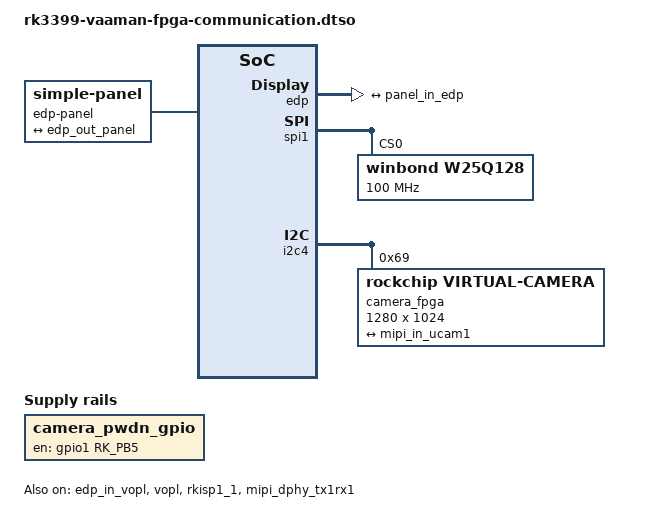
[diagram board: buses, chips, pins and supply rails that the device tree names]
// SPDX-License-Identifier: GPL-2.0+
// Copyright (C) 2023 Vicharak Computers LLP

/dts-v1/;
/plugin/;

#include <dt-bindings/clock/rk3399-cru.h>
#include <dt-bindings/display/media-bus-format.h>
#include <dt-bindings/gpio/gpio.h>
#include <dt-bindings/pinctrl/rockchip.h>

&{/} {
	metadata {
		title = "Enable Vaaman FPGA Communication";
		compatible = "vicharak,rk3399-vaaman", "rockchip,rk3399";
		category = "misc";
		exclusive = "rkisp1_1", "mipi_dphy_tx1rx1", "edp", "edp_in_vopl", "vopl";
		description = "Enables FPGA RX and TX communication on Vicharak Vaaman,\nallowing configuration of the FPGA and enabling bi-directional communication between the processor and FPGA.";
	};

	edp-panel {
		compatible = "simple-panel";
		status = "okay";

		port {
			panel_in_edp: endpoint {
				remote-endpoint = <&edp_out_panel>;
			};
		};
	};

	camera_pwdn_gpio: camera-pwdn-gpio {
		status = "okay";
		compatible = "regulator-fixed";
		regulator-name = "camera_pwdn_gpio";
		regulator-always-on;
		regulator-boot-on;
		enable-active-high;
		gpio = <&gpio1 RK_PB5 GPIO_ACTIVE_HIGH>;
		pinctrl-names = "default";
		pinctrl-0 = <&cam_pwdn_gpio>;
	};
};

&edp {
	status = "okay";
	force-hpd;

	ports {
		#address-cells = <1>;
		#size-cells = <0>;

		edp_out: port@1 {
			reg = <1>;

			edp_out_panel: endpoint {
				remote-endpoint = <&panel_in_edp>;
			};
		};
	};
};

&edp_in_vopl {
	status = "okay";
};

&vopl {
	assigned-clocks = <&cru DCLK_VOP1_DIV>;
	assigned-clock-parents = <&cru PLL_CPLL>;
	status = "okay";
};

&vopl_mmu {
	status = "okay";
};

&spi1 {
	status = "okay";
	#address-cells = <1>;
	#size-cells = <0>;

	w25q128: spi-flash@0 {
		reg = <0>;
		#address-cells = <1>;
		#size-cells = <0>;
		compatible = "winbond,w25q128", "jedec,spi-nor";
		spi-max-frequency = <100000000>;
		status = "okay";
	};
};

&i2c4 {
	status = "okay";
	#address-cells = <1>;
	#size-cells = <0>;

	camera_fpga: camera-fpga@69 {
		compatible = "rockchip,virtual-camera";
		reg = <0x69>;
		width = <1280>;
		height = <1024>;
		bus-format = <MEDIA_BUS_FMT_RGB888_1X24>;

		port {
			ucam_out1: endpoint {
				remote-endpoint = <&mipi_in_ucam1>;
				link-frequencies = /bits/ 64 <700000000>;
				data-lanes = <1 2 3 4>;
			};
		};
	};
};

&rkisp1_1 {
	status = "okay";

	port {
		isp1_mipi_in: endpoint {
			remote-endpoint = <&dphy_tx1rx1_out>;
		};
	};
};

&isp1_mmu {
	status = "okay";
};

&mipi_dphy_tx1rx1 {
	status = "okay";

	ports {
		#address-cells = <1>;
		#size-cells = <0>;

		port@0 {
			reg = <0>;

			mipi_in_ucam1: endpoint {
				remote-endpoint = <&ucam_out1>;
				data-lanes = <1 2 3 4>;
			};
		};

		port@1 {
			reg = <1>;

			dphy_tx1rx1_out: endpoint {
				remote-endpoint = <&isp1_mipi_in>;
			};
		};
	};
};

&pinctrl {
	camera {
		cam_pwdn_gpio: cam-pwdn-gpio {
			rockchip,pins =
				<1 RK_PB5 RK_FUNC_GPIO &pcfg_pull_up>;
		};
	};
};
